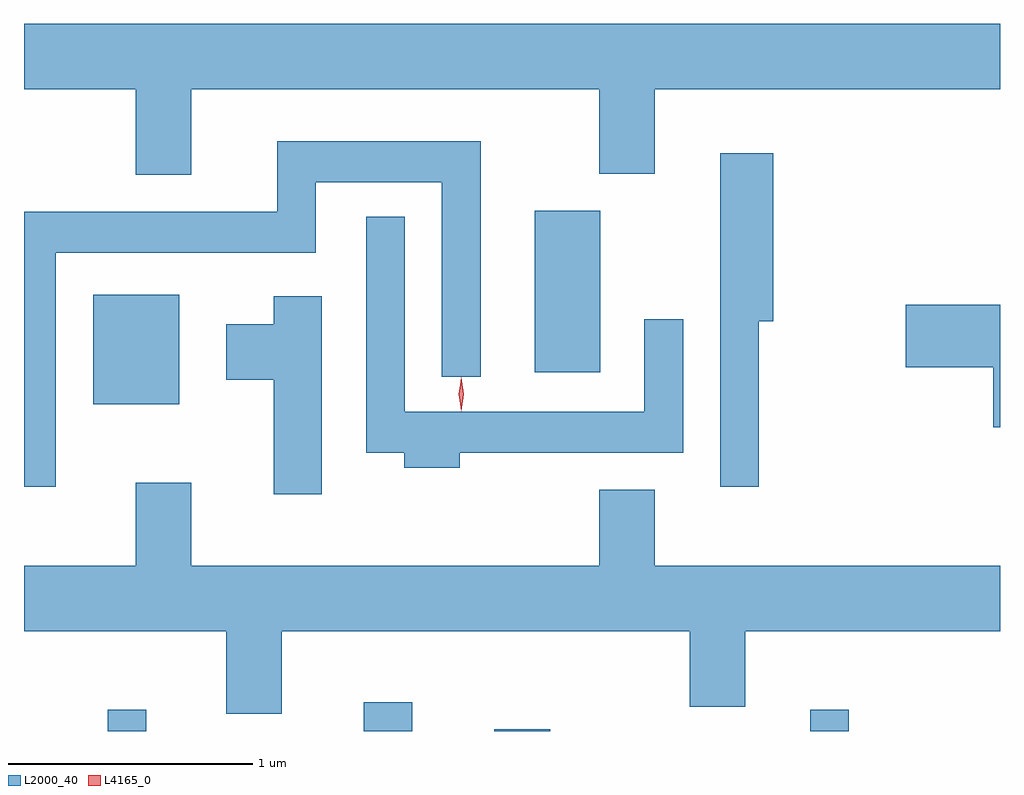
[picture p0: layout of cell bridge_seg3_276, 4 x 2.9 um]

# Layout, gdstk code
import gdstk
lib = gdstk.Library(unit=1e-6, precision=1e-09)
def R(c, l, rs):  # rectangles x0, y0, x1, y1
    for r in rs: c.add(gdstk.rectangle(r[:2], r[2:], *l))
def P(c, l, *ps):  # polygons
    for p in ps: c.add(gdstk.Polygon(p, *l))
L2000_40 = (2000, 40)
L4165_0 = (4165, 0)

bridge_seg3_276 = lib.new_cell('bridge_seg3_276')
R(bridge_seg3_276, L2000_40, [(1075.976,1143.366,1076.134,1143.453), (1077.026,1143.366,1077.224,1143.484), (1077.561,1143.366,1077.789,1143.374), (1078.856,1143.366,1079.014,1143.453), (1075.916,1144.706,1076.269,1145.154), (1077.726,1144.836,1077.994,1145.499)])
P(bridge_seg3_276, L2000_40, [(1076.319,1145.996),(1077.991,1145.996),(1077.991,1145.651),(1078.219,1145.651),(1078.219,1145.996),(1079.633,1145.996),(1079.633,1146.264),(1075.633,1146.264),(1075.633,1145.996),(1076.091,1145.996),(1076.091,1145.646),(1076.319,1145.646)],
  [(1075.764,1145.326),(1076.829,1145.326),(1076.829,1145.616),(1077.346,1145.616),(1077.346,1144.818),(1077.504,1144.818),(1077.504,1145.784),(1076.671,1145.784),(1076.671,1145.494),(1075.633,1145.494),(1075.633,1144.368),(1075.764,1144.368)],
  [(1078.644,1145.046),(1078.704,1145.046),(1078.704,1145.734),(1078.486,1145.734),(1078.486,1144.368),(1078.644,1144.368)],
  [(1077.419,1144.506),(1078.334,1144.506),(1078.334,1145.053),(1078.176,1145.053),(1078.176,1144.674),(1077.194,1144.674),(1077.194,1145.473),(1077.036,1145.473),(1077.036,1144.506),(1077.191,1144.506),(1077.191,1144.446),(1077.419,1144.446)],
  [(1076.854,1145.149),(1076.656,1145.149),(1076.656,1145.034),(1076.461,1145.034),(1076.461,1144.806),(1076.656,1144.806),(1076.656,1144.336),(1076.854,1144.336)],
  [(1079.633,1145.114),(1079.246,1145.114),(1079.246,1144.856),(1079.606,1144.856),(1079.606,1144.611),(1079.633,1144.611)],
  [(1076.689,1143.776),(1078.361,1143.776),(1078.361,1143.466),(1078.589,1143.466),(1078.589,1143.776),(1079.633,1143.776),(1079.633,1144.044),(1078.219,1144.044),(1078.219,1144.354),(1077.991,1144.354),(1077.991,1144.044),(1076.319,1144.044),(1076.319,1144.384),(1076.091,1144.384),(1076.091,1144.044),(1075.633,1144.044),(1075.633,1143.776),(1076.461,1143.776),(1076.461,1143.436),(1076.689,1143.436)])
P(bridge_seg3_276, L4165_0, [(1077.425,1144.679),(1077.425,1144.68),(1077.415,1144.746),(1077.425,1144.812),(1077.425,1144.813),(1077.426,1144.812),(1077.435,1144.746),(1077.426,1144.68)],
  [(1077.425,1144.677),(1077.416,1144.747),(1077.425,1144.816),(1077.426,1144.816),(1077.426,1144.816),(1077.436,1144.747),(1077.426,1144.677),(1077.426,1144.677)])

lib.write_gds('bridge_seg3_276.gds')
